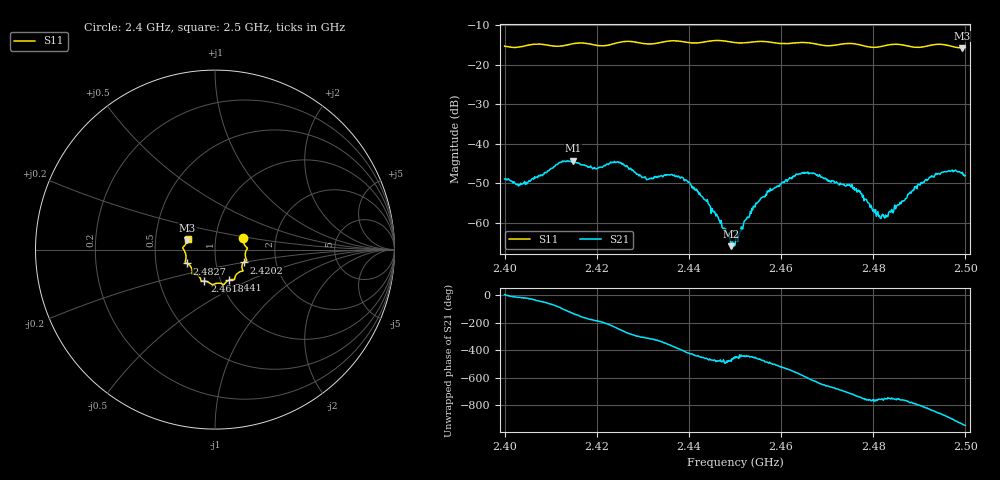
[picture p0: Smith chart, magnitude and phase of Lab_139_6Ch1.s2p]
# Hz S RI R 50
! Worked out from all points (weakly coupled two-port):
!   601 points, 2.4 GHz to 2.5 GHz, reference 50 ohm
!   highest |S21| = -44.31 dB at 2.4148 GHz (marker M1); lowest = -65.9 dB at 2.4492 GHz (marker M2)
!   lowest |S11| = -15.8 dB at 2.4993 GHz (marker M3), VSWR 1.39, Z = 36.5 + j3.8 ohm
!   |S11| at or under -10 dB: start of sweep to end of sweep
!   S12 and S22 are empty: the file has one direction only
!   S11 on the Smith chart (normalised r, x): 2.4 GHz: 1.36, +0.18; 2.4202 GHz: 1.36, -0.20; 2.441 GHz: 1.10, -0.39; 2.4618 GHz: 0.84, -0.30; 2.4827 GHz: 0.72, -0.12; 2.5 GHz: 0.73, +0.09
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2.4e9  0.1587 0.0629  0.00353 0.000416  0 0  0 0
2.4035e9  0.1659 0.0241  0.00306 -0.000794  0 0  0 0
2.414833e9  0.1748 -0.055  -0.00402 -0.00457  0 0  0 0
2.416667e9  0.1771 -0.061  -0.00494 -0.00218  0 0  0 0
2.420167e9  0.1589 -0.0716  -0.00481 0.000489  0 0  0 0
2.424833e9  0.1536 -0.1127  -0.00228 0.00527  0 0  0 0
2.4305e9  0.1317 -0.1272  0.00238 0.00296  0 0  0 0
2.433333e9  0.1117 -0.1508  0.00339 0.00186  0 0  0 0
2.438167e9  0.1031 -0.1673  0.00299 -0.00211  0 0  0 0
2.441e9  0.0788 -0.1698  0.000854 -0.00253  0 0  0 0
2.449167e9  0.0361 -0.1891  -0.000266 -0.000429  0 0  0 0
2.45e9  0.0287 -0.1875  2.2e-05 -0.000516  0 0  0 0
2.455e9  -0.0124 -0.1952  -0.000434 -0.00176  0 0  0 0
2.461833e9  -0.0591 -0.1754  -0.00371 0.000163  0 0  0 0
2.466667e9  -0.0788 -0.1683  -0.000867 0.00414  0 0  0 0
2.475333e9  -0.1277 -0.1329  0.00306 2.37e-05  0 0  0 0
2.481167e9  -0.1436 -0.0849  0.000952 -0.000735  0 0  0 0
2.482667e9  -0.1558 -0.0772  0.00102 -0.000725  0 0  0 0
2.483333e9  -0.1603 -0.0752  0.00115 -0.000692  0 0  0 0
2.4925e9  -0.1754 0.00184  -0.00165 -0.00339  0 0  0 0
2.499333e9  -0.1541 0.0507  -0.00332 0.00279  0 0  0 0
2.5e9  -0.1522 0.0603  -0.00252 0.003  0 0  0 0
